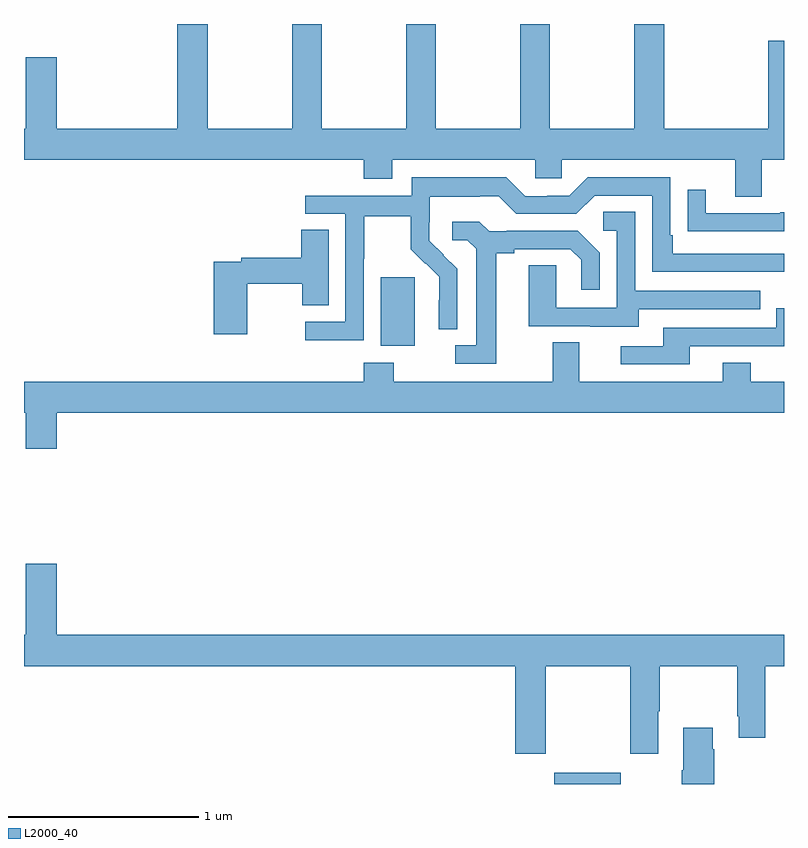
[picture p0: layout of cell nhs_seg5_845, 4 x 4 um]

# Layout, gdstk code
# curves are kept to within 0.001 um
import gdstk
lib = gdstk.Library(unit=1e-6, precision=1e-09)
def R(c, l, rs):  # rectangles x0, y0, x1, y1
    for r in rs: c.add(gdstk.rectangle(r[:2], r[2:], *l))
def P(c, l, *ps):  # polygons
    for p in ps: c.add(gdstk.Polygon(p, *l))
L2000_40 = (2000, 40)

nhs_seg5_845 = lib.new_cell('nhs_seg5_845')
R(nhs_seg5_845, L2000_40, [(167.792,862.799,168.142,862.858), (166.877,865.106,167.056,865.467)])
P(nhs_seg5_845, L2000_40, [(168.371,866.799),(168.211,866.799),(168.211,866.248),(167.766,866.248),(167.766,866.799),(167.611,866.799),(167.611,866.248),(167.166,866.248),(167.166,866.799),(167.011,866.799),(167.011,866.248),(166.566,866.248),(166.566,866.799),(166.411,866.799),(166.411,866.248),(165.966,866.248),(165.966,866.799),(165.806,866.799),(165.806,866.248),(165.172,866.248),(165.172,866.623),(165.008,866.623),(165.008,866.248),(165,866.248),(165,866.084),(166.787,866.084),(166.787,865.985),(166.939,865.985),(166.939,866.084),(167.691,866.084),(167.691,865.986),(167.829,865.986),(167.829,866.084),(168.743,866.084),(168.743,865.89),(168.883,865.89),(168.883,866.084),(169,866.084),(169,866.71),(168.917,866.71),(168.917,866.248),(168.371,866.248)],
  [(166.788,865.564),(166.791,865.564),(166.791,865.788),(167.035,865.788),(167.035,865.613),(167.112,865.536),(167.115,865.539),(167.186,865.469),(167.186,865.346),(167.184,865.346),(167.184,865.192),(167.28,865.192),(167.28,865.51),(167.134,865.658),(167.134,865.755),(167.136,865.755),(167.136,865.889),(167.399,865.889),(167.399,865.893),(167.499,865.893),(167.592,865.8),(167.907,865.8),(168.003,865.896),(168.306,865.896),(168.306,865.494),(169,865.494),(169,865.59),(168.415,865.59),(168.415,865.687),(168.402,865.687),(168.402,865.992),(167.967,865.992),(167.871,865.896),(167.753,865.896),(167.753,865.893),(167.637,865.893),(167.537,865.993),(167.04,865.993),(167.04,865.896),(166.479,865.896),(166.479,865.8),(166.692,865.8),(166.692,865.233),(166.479,865.233),(166.479,865.135),(166.788,865.135)],
  [(169,865.808),(168.979,865.808),(168.979,865.803),(168.589,865.803),(168.589,865.927),(168.493,865.927),(168.493,865.708),(168.595,865.708),(168.595,865.707),(169,865.707)],
  [(168.235,865.299),(168.875,865.299),(168.875,865.395),(168.216,865.395),(168.216,865.811),(168.048,865.811),(168.048,865.71),(168.12,865.71),(168.12,865.305),(167.802,865.305),(167.802,865.529),(167.657,865.529),(167.657,865.209),(167.981,865.209),(167.981,865.205),(168.235,865.205)],
  [(167.485,865.592),(167.581,865.592),(167.581,865.614),(167.876,865.614),(167.933,865.557),(167.933,865.401),(168.03,865.401),(168.03,865.594),(167.914,865.71),(167.542,865.71),(167.542,865.707),(167.448,865.707),(167.396,865.759),(167.253,865.759),(167.253,865.662),(167.334,865.662),(167.381,865.615),(167.381,865.107),(167.271,865.107),(167.271,865.011),(167.485,865.011)],
  [(166.176,865.432),(166.465,865.432),(166.465,865.318),(166.603,865.318),(166.603,865.715),(166.46,865.715),(166.46,865.568),(166.144,865.568),(166.144,865.548),(165.998,865.548),(165.998,865.167),(166.176,865.167)],
  [(168.505,865.104),(169,865.104),(169,865.303),(168.96,865.303),(168.96,865.2),(168.365,865.2),(168.365,865.104),(168.141,865.104),(168.141,865.008),(168.505,865.008)],
  [(165.172,864.752),(169,864.752),(169,864.916),(168.825,864.916),(168.825,865.015),(168.677,865.015),(168.677,864.916),(167.923,864.916),(167.923,865.124),(167.783,865.124),(167.783,864.916),(166.947,864.916),(166.947,865.015),(166.787,865.015),(166.787,864.916),(165,864.916),(165,864.752),(165.008,864.752),(165.008,864.564),(165.172,864.564)],
  [(167.745,863.42),(168.19,863.42),(168.19,862.959),(168.337,862.959),(168.337,863.182),(168.345,863.182),(168.345,863.42),(168.754,863.42),(168.754,863.155),(168.761,863.155),(168.761,863.043),(168.901,863.043),(168.901,863.42),(169,863.42),(169,863.584),(165.172,863.584),(165.172,863.959),(165.008,863.959),(165.008,863.584),(165,863.584),(165,863.42),(167.585,863.42),(167.585,862.959),(167.745,862.959)],
  [(168.633,862.982),(168.625,862.982),(168.625,863.095),(168.47,863.095),(168.47,862.871),(168.463,862.871),(168.463,862.799),(168.633,862.799)])

lib.write_gds('nhs_seg5_845.gds')
